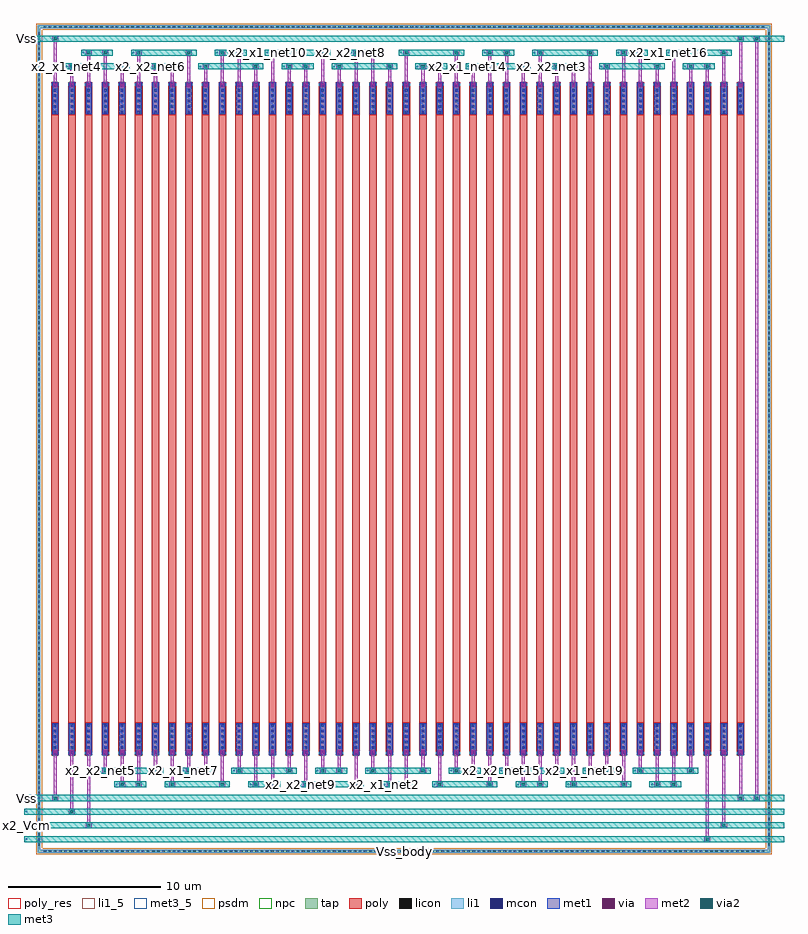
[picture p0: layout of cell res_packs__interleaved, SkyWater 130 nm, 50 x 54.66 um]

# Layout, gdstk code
import gdstk
lib = gdstk.Library(unit=1e-6, precision=1e-09)
def R(c, l, rs):  # rectangles x0, y0, x1, y1
    for r in rs: c.add(gdstk.rectangle(r[:2], r[2:], *l))
def A(c, l, x, y, w, h, nx, ny, dx, dy):  # array of equal rectangles
    R(c, l, [(x+i*dx, y+j*dy, x+i*dx+w, y+j*dy+h) for i in range(nx) for j in range(ny)])
tap = (65, 44)
poly_res = (66, 13)
poly = (66, 20)
licon = (66, 44)
li1_5 = (67, 5)
li1 = (67, 20)
mcon = (67, 44)
met1 = (68, 20)
via = (68, 44)
met2 = (69, 20)
via2 = (69, 44)
met3_5 = (70, 5)
met3 = (70, 20)
psdm = (94, 20)
npc = (95, 20)

sky130_fd_pr__res_generi = lib.new_cell('sky130_fd_pr__res_generic_po_5GPU7X')
R(sky130_fd_pr__res_generi, poly_res, [(-0.25,-20,0.25,20)])
R(sky130_fd_pr__res_generi, poly, [(-0.25,-22.15,0.25,22.15)])
R(sky130_fd_pr__res_generi, licon, [(-0.085,-22.07,0.085,-21.9), (-0.085,21.9,0.085,22.07)])
R(sky130_fd_pr__res_generi, li1, [(-0.25,-22.07,0.25,-21.9), (-0.17,-21.9,0.17,-20.085), (-0.17,20.085,0.17,21.9), (-0.25,21.9,0.25,22.07)])
A(sky130_fd_pr__res_generi, mcon, -0.085, -22.065, 0.17, 0.17, 1, 6, 0, 0.36)
A(sky130_fd_pr__res_generi, mcon, -0.085, 20.09, 0.17, 0.17, 1, 6, 0, 0.36)
R(sky130_fd_pr__res_generi, met1, [(-0.2,-22.13,0.2,-20.025), (-0.2,20.025,0.2,22.13)])
R(sky130_fd_pr__res_generi, npc, [(-0.185,-22.17,0.185,-21.8), (-0.185,21.8,0.185,22.17)])
sky130_fd_pr__res_generi.add(gdstk.Label('R1', (0,21.985), layer=67, texttype=5))
sky130_fd_pr__res_generi.add(gdstk.Label('R2', (0,-21.985), layer=67, texttype=5))

res_generic_po_w0p5_l40 = lib.new_cell('res_generic_po_W0p5_L40')
res_generic_po_w0p5_l40.add(gdstk.Reference(sky130_fd_pr__res_generi, (0.25,22.15)))

res_packs__interleaved = lib.new_cell('res_packs__interleaved')
R(res_packs__interleaved, tap, [(-0.885,-6.385,47.285,-6.215), (-0.885,-6.215,-0.715,47.855), (47.115,-6.215,47.285,47.855), (-0.885,47.855,47.285,48.025)])
A(res_packs__interleaved, licon, -0.515, -6.385, 0.17, 0.17, 140, 2, 0.34, 54.24)
A(res_packs__interleaved, licon, -0.885, -5.955, 0.17, 0.17, 1, 158, 0, 0.34)
A(res_packs__interleaved, licon, 47.115, -5.955, 0.17, 0.17, 1, 158, 0, 0.34)
R(res_packs__interleaved, li1_5, [(23.15,-6.35,23.25,-6.25)])
R(res_packs__interleaved, li1, [(-0.885,-6.385,47.285,-6.215), (-0.885,-6.215,-0.715,47.855), (47.115,-6.215,47.285,47.855), (-0.885,47.855,47.285,48.025)])
A(res_packs__interleaved, met1, 0.07, 0.04, 0.36, 0.36, 42, 2, 1.1, 43.9)
A(res_packs__interleaved, via, 0.175, 0.145, 0.15, 0.15, 42, 2, 1.1, 43.9)
A(res_packs__interleaved, met2, 0.12, 0.06, 0.26, 0.32, 42, 2, 1.1, 43.9)
R(res_packs__interleaved, met2, [(42.95,-5.7,43.35,-5.3), (43.05,-5.3,43.25,0.06), (2.25,-4.8,2.65,-4.4), (44.05,-4.8,44.45,-4.4), (2.35,-4.4,2.55,0.06), (44.15,-4.4,44.35,0.06), (1.15,-3.9,1.55,-3.5), (1.25,-3.5,1.45,0.06), (0.05,-3,0.45,-2.6), (45.15,-3,45.55,-2.6), (46.2,-3,46.6,-2.6), (0.15,-2.6,0.35,0.06), (45.25,-2.6,45.45,0.06), (46.3,-2.6,46.5,46.94), (4.45,-2.1,4.85,-1.7), (5.55,-2.1,5.95,-1.7), (7.75,-2.1,8.15,-1.7), (11.05,-2.1,11.45,-1.7), (13.25,-2.1,13.65,-1.7), (14.35,-2.1,14.75,-1.7), (16.55,-2.1,16.95,-1.7), (19.85,-2.1,20.25,-1.7), (22.05,-2.1,22.45,-1.7), (23.15,-2.1,23.55,-1.7), (25.35,-2.1,25.75,-1.7), (28.65,-2.1,29.05,-1.7), (30.85,-2.1,31.25,-1.7), (31.95,-2.1,32.35,-1.7), (34.15,-2.1,34.55,-1.7), (37.45,-2.1,37.85,-1.7), (39.65,-2.1,40.05,-1.7), (40.75,-2.1,41.15,-1.7), (4.55,-1.7,4.75,0.06), (5.65,-1.7,5.85,0.06), (7.85,-1.7,8.05,0.06), (11.15,-1.7,11.35,0.06), (13.35,-1.7,13.55,0.06), (14.45,-1.7,14.65,0.06), (16.65,-1.7,16.85,0.06), (19.95,-1.7,20.15,0.06), (22.15,-1.7,22.35,0.06), (23.25,-1.7,23.45,0.06), (25.45,-1.7,25.65,0.06), (28.75,-1.7,28.95,0.06), (30.95,-1.7,31.15,0.06), (32.05,-1.7,32.25,0.06), (34.25,-1.7,34.45,0.06), (37.55,-1.7,37.75,0.06), (39.75,-1.7,39.95,0.06), (40.85,-1.7,41.05,0.06), (3.35,-1.2,3.75,-0.8), (6.65,-1.2,7.05,-0.8), (8.85,-1.2,9.25,-0.8), (9.95,-1.2,10.35,-0.8), (12.15,-1.2,12.55,-0.8), (15.45,-1.2,15.85,-0.8), (17.65,-1.2,18.05,-0.8), (18.75,-1.2,19.15,-0.8), (20.95,-1.2,21.35,-0.8), (24.25,-1.2,24.65,-0.8), (26.45,-1.2,26.85,-0.8), (27.55,-1.2,27.95,-0.8), (29.75,-1.2,30.15,-0.8), (33.05,-1.2,33.45,-0.8), (35.25,-1.2,35.65,-0.8), (36.35,-1.2,36.75,-0.8), (38.55,-1.2,38.95,-0.8), (41.85,-1.2,42.25,-0.8), (3.45,-0.8,3.65,0.06), (6.75,-0.8,6.95,0.06), (8.95,-0.8,9.15,0.06), (10.05,-0.8,10.25,0.06), (12.25,-0.8,12.45,0.06), (15.55,-0.8,15.75,0.06), (17.75,-0.8,17.95,0.06), (18.85,-0.8,19.05,0.06), (21.05,-0.8,21.25,0.06), (24.35,-0.8,24.55,0.06), (26.55,-0.8,26.75,0.06), (27.65,-0.8,27.85,0.06), (29.85,-0.8,30.05,0.06), (33.15,-0.8,33.35,0.06), (35.35,-0.8,35.55,0.06), (36.45,-0.8,36.65,0.06), (38.65,-0.8,38.85,0.06), (41.95,-0.8,42.15,0.06), (0.15,44.28,0.35,46.94), (1.25,44.28,1.45,45.14), (2.35,44.28,2.55,46.04), (3.45,44.28,3.65,46.04), (4.55,44.28,4.75,45.14), (5.65,44.28,5.85,46.04), (6.75,44.28,6.95,45.14), (7.85,44.28,8.05,45.14), (8.95,44.28,9.15,46.04), (10.05,44.28,10.25,45.14), (11.15,44.28,11.35,46.04), (12.25,44.28,12.45,46.04), (13.35,44.28,13.55,45.14), (14.45,44.28,14.65,46.04), (15.55,44.28,15.75,45.14), (16.65,44.28,16.85,45.14), (17.75,44.28,17.95,46.04), (18.85,44.28,19.05,45.14), (19.95,44.28,20.15,46.04), (21.05,44.28,21.25,46.04), (22.15,44.28,22.35,45.14), (23.25,44.28,23.45,46.04), (24.35,44.28,24.55,45.14), (25.45,44.28,25.65,45.14), (26.55,44.28,26.75,46.04), (27.65,44.28,27.85,45.14), (28.75,44.28,28.95,46.04), (29.85,44.28,30.05,46.04), (30.95,44.28,31.15,45.14), (32.05,44.28,32.25,46.04), (33.15,44.28,33.35,45.14), (34.25,44.28,34.45,45.14), (35.35,44.28,35.55,46.04), (36.45,44.28,36.65,45.14), (37.55,44.28,37.75,46.04), (38.65,44.28,38.85,46.04), (39.75,44.28,39.95,45.14), (40.85,44.28,41.05,46.04), (41.95,44.28,42.15,45.14), (43.05,44.28,43.25,45.14), (44.15,44.28,44.35,46.04), (45.25,44.28,45.45,46.94), (1.15,45.14,1.55,45.54), (4.45,45.14,4.85,45.54), (6.65,45.14,7.05,45.54), (7.75,45.14,8.15,45.54), (9.95,45.14,10.35,45.54), (13.25,45.14,13.65,45.54), (15.45,45.14,15.85,45.54), (16.55,45.14,16.95,45.54), (18.75,45.14,19.15,45.54), (22.05,45.14,22.45,45.54), (24.25,45.14,24.65,45.54), (25.35,45.14,25.75,45.54), (27.55,45.14,27.95,45.54), (30.85,45.14,31.25,45.54), (33.05,45.14,33.45,45.54), (34.15,45.14,34.55,45.54), (36.35,45.14,36.75,45.54), (39.65,45.14,40.05,45.54), (41.85,45.14,42.25,45.54), (42.95,45.14,43.35,45.54), (2.25,46.04,2.65,46.44), (3.35,46.04,3.75,46.44), (5.55,46.04,5.95,46.44), (8.85,46.04,9.25,46.44), (11.05,46.04,11.45,46.44), (12.15,46.04,12.55,46.44), (14.35,46.04,14.75,46.44), (17.65,46.04,18.05,46.44), (19.85,46.04,20.25,46.44), (20.95,46.04,21.35,46.44), (23.15,46.04,23.55,46.44), (26.45,46.04,26.85,46.44), (28.65,46.04,29.05,46.44), (29.75,46.04,30.15,46.44), (31.95,46.04,32.35,46.44), (35.25,46.04,35.65,46.44), (37.45,46.04,37.85,46.44), (38.55,46.04,38.95,46.44), (40.75,46.04,41.15,46.44), (44.05,46.04,44.45,46.44), (0.05,46.94,0.45,47.34), (45.15,46.94,45.55,47.34), (46.2,46.94,46.6,47.34)])
R(res_packs__interleaved, via2, [(43.05,-5.6,43.25,-5.4), (2.35,-4.7,2.55,-4.5), (44.15,-4.7,44.35,-4.5), (1.25,-3.8,1.45,-3.6), (0.15,-2.9,0.35,-2.7), (45.25,-2.9,45.45,-2.7), (46.3,-2.9,46.5,-2.7), (4.55,-2,4.75,-1.8), (5.65,-2,5.85,-1.8), (7.85,-2,8.05,-1.8), (11.15,-2,11.35,-1.8), (13.35,-2,13.55,-1.8), (14.45,-2,14.65,-1.8), (16.65,-2,16.85,-1.8), (19.95,-2,20.15,-1.8), (22.15,-2,22.35,-1.8), (23.25,-2,23.45,-1.8), (25.45,-2,25.65,-1.8), (28.75,-2,28.95,-1.8), (30.95,-2,31.15,-1.8), (32.05,-2,32.25,-1.8), (34.25,-2,34.45,-1.8), (37.55,-2,37.75,-1.8), (39.75,-2,39.95,-1.8), (40.85,-2,41.05,-1.8), (3.45,-1.1,3.65,-0.9), (6.75,-1.1,6.95,-0.9), (8.95,-1.1,9.15,-0.9), (10.05,-1.1,10.25,-0.9), (12.25,-1.1,12.45,-0.9), (15.55,-1.1,15.75,-0.9), (17.75,-1.1,17.95,-0.9), (18.85,-1.1,19.05,-0.9), (21.05,-1.1,21.25,-0.9), (24.35,-1.1,24.55,-0.9), (26.55,-1.1,26.75,-0.9), (27.65,-1.1,27.85,-0.9), (29.85,-1.1,30.05,-0.9), (33.15,-1.1,33.35,-0.9), (35.35,-1.1,35.55,-0.9), (36.45,-1.1,36.65,-0.9), (38.65,-1.1,38.85,-0.9), (41.95,-1.1,42.15,-0.9), (1.25,45.24,1.45,45.44), (4.55,45.24,4.75,45.44), (6.75,45.24,6.95,45.44), (7.85,45.24,8.05,45.44), (10.05,45.24,10.25,45.44), (13.35,45.24,13.55,45.44), (15.55,45.24,15.75,45.44), (16.65,45.24,16.85,45.44), (18.85,45.24,19.05,45.44), (22.15,45.24,22.35,45.44), (24.35,45.24,24.55,45.44), (25.45,45.24,25.65,45.44), (27.65,45.24,27.85,45.44), (30.95,45.24,31.15,45.44), (33.15,45.24,33.35,45.44), (34.25,45.24,34.45,45.44), (36.45,45.24,36.65,45.44), (39.75,45.24,39.95,45.44), (41.95,45.24,42.15,45.44), (43.05,45.24,43.25,45.44), (2.35,46.14,2.55,46.34), (3.45,46.14,3.65,46.34), (5.65,46.14,5.85,46.34), (8.95,46.14,9.15,46.34), (11.15,46.14,11.35,46.34), (12.25,46.14,12.45,46.34), (14.45,46.14,14.65,46.34), (17.75,46.14,17.95,46.34), (19.95,46.14,20.15,46.34), (21.05,46.14,21.25,46.34), (23.25,46.14,23.45,46.34), (26.55,46.14,26.75,46.34), (28.75,46.14,28.95,46.34), (29.85,46.14,30.05,46.34), (32.05,46.14,32.25,46.34), (35.35,46.14,35.55,46.34), (37.55,46.14,37.75,46.34), (38.65,46.14,38.85,46.34), (40.85,46.14,41.05,46.34), (44.15,46.14,44.35,46.34), (0.15,47.04,0.35,47.24), (45.25,47.04,45.45,47.24), (46.3,47.04,46.5,47.24)])
A(res_packs__interleaved, met3_5, -1.7, -5.55, 0.1, 0.1, 1, 4, 0, 0.9)
R(res_packs__interleaved, met3_5, [(4.25,-1.95,4.35,-1.85), (7.55,-1.95,7.65,-1.85), (13.05,-1.95,13.15,-1.85), (16.35,-1.95,16.45,-1.85), (21.85,-1.95,21.95,-1.85), (25.15,-1.95,25.25,-1.85), (30.65,-1.95,30.75,-1.85), (33.95,-1.95,34.05,-1.85), (39.45,-1.95,39.55,-1.85), (3.15,-1.05,3.25,-0.95), (8.65,-1.05,8.75,-0.95), (11.95,-1.05,12.05,-0.95), (17.45,-1.05,17.55,-0.95), (20.75,-1.05,20.85,-0.95), (26.25,-1.05,26.35,-0.95), (29.55,-1.05,29.65,-0.95), (35.05,-1.05,35.15,-0.95), (38.35,-1.05,38.45,-0.95), (0.95,45.29,1.05,45.39), (6.45,45.29,6.55,45.39), (9.75,45.29,9.85,45.39), (15.25,45.29,15.35,45.39), (18.55,45.29,18.65,45.39), (24.05,45.29,24.15,45.39), (27.35,45.29,27.45,45.39), (32.85,45.29,32.95,45.39), (36.15,45.29,36.25,45.39), (41.65,45.29,41.75,45.39), (2.05,46.19,2.15,46.29), (5.35,46.19,5.45,46.29), (10.85,46.19,10.95,46.29), (14.15,46.19,14.25,46.29), (19.65,46.19,19.75,46.29), (22.95,46.19,23.05,46.29), (28.45,46.19,28.55,46.29), (31.75,46.19,31.85,46.29), (37.25,46.19,37.35,46.29), (40.55,46.19,40.65,46.29), (-1.7,47.09,-1.6,47.19)])
A(res_packs__interleaved, met3, -1.8, -5.7, 50, 0.4, 1, 4, 0, 0.9)
A(res_packs__interleaved, met3, 4.15, -2.1, 2.1, 0.4, 5, 1, 8.8, 0)
A(res_packs__interleaved, met3, 7.45, -2.1, 4.3, 0.4, 4, 1, 8.8, 0)
A(res_packs__interleaved, met3, 3.05, -1.2, 4.3, 0.4, 5, 1, 8.8, 0)
A(res_packs__interleaved, met3, 8.55, -1.2, 2.1, 0.4, 4, 1, 8.8, 0)
A(res_packs__interleaved, met3, 0.85, 45.14, 4.3, 0.4, 5, 1, 8.8, 0)
A(res_packs__interleaved, met3, 6.35, 45.14, 2.1, 0.4, 5, 1, 8.8, 0)
A(res_packs__interleaved, met3, 1.95, 46.04, 2.1, 0.4, 5, 1, 8.8, 0)
A(res_packs__interleaved, met3, 5.25, 46.04, 4.3, 0.4, 5, 1, 8.8, 0)
R(res_packs__interleaved, met3, [(-1.8,46.94,48.2,47.34)])
R(res_packs__interleaved, psdm, [(-1.01,-6.51,47.41,-6.09), (-1.01,-6.09,-0.59,47.73), (46.99,-6.09,47.41,47.73), (-1.01,47.73,47.41,48.15)])
res_packs__interleaved.add(gdstk.Reference(res_generic_po_w0p5_l40, (45.1,0)))
res_packs__interleaved.add(gdstk.Reference(res_generic_po_w0p5_l40, (44,0)))
res_packs__interleaved.add(gdstk.Reference(res_generic_po_w0p5_l40, (42.9,0)))
res_packs__interleaved.add(gdstk.Reference(res_generic_po_w0p5_l40, (41.8,0)))
res_packs__interleaved.add(gdstk.Reference(res_generic_po_w0p5_l40, (40.7,0)))
res_packs__interleaved.add(gdstk.Reference(res_generic_po_w0p5_l40, (39.6,0)))
res_packs__interleaved.add(gdstk.Reference(res_generic_po_w0p5_l40, (38.5,0)))
res_packs__interleaved.add(gdstk.Reference(res_generic_po_w0p5_l40, (37.4,0)))
res_packs__interleaved.add(gdstk.Reference(res_generic_po_w0p5_l40, (36.3,0)))
res_packs__interleaved.add(gdstk.Reference(res_generic_po_w0p5_l40, (35.2,0)))
res_packs__interleaved.add(gdstk.Reference(res_generic_po_w0p5_l40, (34.1,0)))
res_packs__interleaved.add(gdstk.Reference(res_generic_po_w0p5_l40, (33,0)))
res_packs__interleaved.add(gdstk.Reference(res_generic_po_w0p5_l40, (31.9,0)))
res_packs__interleaved.add(gdstk.Reference(res_generic_po_w0p5_l40, (30.8,0)))
res_packs__interleaved.add(gdstk.Reference(res_generic_po_w0p5_l40, (29.7,0)))
res_packs__interleaved.add(gdstk.Reference(res_generic_po_w0p5_l40, (28.6,0)))
res_packs__interleaved.add(gdstk.Reference(res_generic_po_w0p5_l40, (27.5,0)))
res_packs__interleaved.add(gdstk.Reference(res_generic_po_w0p5_l40, (26.4,0)))
res_packs__interleaved.add(gdstk.Reference(res_generic_po_w0p5_l40, (25.3,0)))
res_packs__interleaved.add(gdstk.Reference(res_generic_po_w0p5_l40, (24.2,0)))
res_packs__interleaved.add(gdstk.Reference(res_generic_po_w0p5_l40, (23.1,0)))
res_packs__interleaved.add(gdstk.Reference(res_generic_po_w0p5_l40, (22,0)))
res_packs__interleaved.add(gdstk.Reference(res_generic_po_w0p5_l40, (20.9,0)))
res_packs__interleaved.add(gdstk.Reference(res_generic_po_w0p5_l40, (19.8,0)))
res_packs__interleaved.add(gdstk.Reference(res_generic_po_w0p5_l40, (18.7,0)))
res_packs__interleaved.add(gdstk.Reference(res_generic_po_w0p5_l40, (17.6,0)))
res_packs__interleaved.add(gdstk.Reference(res_generic_po_w0p5_l40, (16.5,0)))
res_packs__interleaved.add(gdstk.Reference(res_generic_po_w0p5_l40, (15.4,0)))
res_packs__interleaved.add(gdstk.Reference(res_generic_po_w0p5_l40, (14.3,0)))
res_packs__interleaved.add(gdstk.Reference(res_generic_po_w0p5_l40, (13.2,0)))
res_packs__interleaved.add(gdstk.Reference(res_generic_po_w0p5_l40, (12.1,0)))
res_packs__interleaved.add(gdstk.Reference(res_generic_po_w0p5_l40, (11,0)))
res_packs__interleaved.add(gdstk.Reference(res_generic_po_w0p5_l40, (9.9,0)))
res_packs__interleaved.add(gdstk.Reference(res_generic_po_w0p5_l40, (8.8,0)))
res_packs__interleaved.add(gdstk.Reference(res_generic_po_w0p5_l40, (7.7,0)))
res_packs__interleaved.add(gdstk.Reference(res_generic_po_w0p5_l40, (6.6,0)))
res_packs__interleaved.add(gdstk.Reference(res_generic_po_w0p5_l40, (5.5,0)))
res_packs__interleaved.add(gdstk.Reference(res_generic_po_w0p5_l40, (4.4,0)))
res_packs__interleaved.add(gdstk.Reference(res_generic_po_w0p5_l40, (3.3,0)))
res_packs__interleaved.add(gdstk.Reference(res_generic_po_w0p5_l40, (2.2,0)))
res_packs__interleaved.add(gdstk.Reference(res_generic_po_w0p5_l40, (1.1,0)))
res_packs__interleaved.add(gdstk.Reference(res_generic_po_w0p5_l40, (0,0)))
res_packs__interleaved.add(gdstk.Label('Vss', (-1.65,47.14), layer=70, texttype=5))
res_packs__interleaved.add(gdstk.Label('x2_x1_net4', (1,45.34), layer=70, texttype=5))
res_packs__interleaved.add(gdstk.Label('x2_x2_net4', (2.1,46.24), layer=70, texttype=5))
res_packs__interleaved.add(gdstk.Label('x2_x1_net6', (5.4,46.24), layer=70, texttype=5))
res_packs__interleaved.add(gdstk.Label('x2_x2_net6', (6.5,45.34), layer=70, texttype=5))
res_packs__interleaved.add(gdstk.Label('x2_x1_net1', (9.8,45.34), layer=70, texttype=5))
res_packs__interleaved.add(gdstk.Label('x2_x2_net1', (10.9,46.24), layer=70, texttype=5))
res_packs__interleaved.add(gdstk.Label('x2_x1_net10', (14.2,46.24), layer=70, texttype=5))
res_packs__interleaved.add(gdstk.Label('x2_x2_net10', (15.3,45.34), layer=70, texttype=5))
res_packs__interleaved.add(gdstk.Label('x2_x1_net8', (18.6,45.34), layer=70, texttype=5))
res_packs__interleaved.add(gdstk.Label('x2_x2_net8', (19.7,46.24), layer=70, texttype=5))
res_packs__interleaved.add(gdstk.Label('x2_x1_net12', (23,46.24), layer=70, texttype=5))
res_packs__interleaved.add(gdstk.Label('x2_x2_net12', (24.1,45.34), layer=70, texttype=5))
res_packs__interleaved.add(gdstk.Label('x2_x1_net14', (27.4,45.34), layer=70, texttype=5))
res_packs__interleaved.add(gdstk.Label('x2_x2_net14', (28.5,46.24), layer=70, texttype=5))
res_packs__interleaved.add(gdstk.Label('x2_x1_net3', (31.8,46.24), layer=70, texttype=5))
res_packs__interleaved.add(gdstk.Label('x2_x2_net3', (32.9,45.34), layer=70, texttype=5))
res_packs__interleaved.add(gdstk.Label('x2_x1_net18', (36.2,45.34), layer=70, texttype=5))
res_packs__interleaved.add(gdstk.Label('x2_x2_net18', (37.3,46.24), layer=70, texttype=5))
res_packs__interleaved.add(gdstk.Label('x2_x1_net16', (40.6,46.24), layer=70, texttype=5))
res_packs__interleaved.add(gdstk.Label('x2_x2_net16', (41.7,45.34), layer=70, texttype=5))
res_packs__interleaved.add(gdstk.Label('Vss', (-1.65,-2.8), layer=70, texttype=5))
res_packs__interleaved.add(gdstk.Label('Vop', (-1.65,-3.7), layer=70, texttype=5))
res_packs__interleaved.add(gdstk.Label('x2_Vcm', (-1.65,-4.6), layer=70, texttype=5))
res_packs__interleaved.add(gdstk.Label('x2_x2_net5', (3.2,-1), layer=70, texttype=5))
res_packs__interleaved.add(gdstk.Label('x2_x1_net5', (4.3,-1.9), layer=70, texttype=5))
res_packs__interleaved.add(gdstk.Label('x2_x2_net7', (7.6,-1.9), layer=70, texttype=5))
res_packs__interleaved.add(gdstk.Label('x2_x1_net7', (8.7,-1), layer=70, texttype=5))
res_packs__interleaved.add(gdstk.Label('x2_x2_net11', (12,-1), layer=70, texttype=5))
res_packs__interleaved.add(gdstk.Label('x2_x1_net11', (13.1,-1.9), layer=70, texttype=5))
res_packs__interleaved.add(gdstk.Label('x2_x2_net9', (16.4,-1.9), layer=70, texttype=5))
res_packs__interleaved.add(gdstk.Label('x2_x1_net9', (17.5,-1), layer=70, texttype=5))
res_packs__interleaved.add(gdstk.Label('x2_x2_net2', (20.8,-1), layer=70, texttype=5))
res_packs__interleaved.add(gdstk.Label('x2_x1_net2', (21.9,-1.9), layer=70, texttype=5))
res_packs__interleaved.add(gdstk.Label('x2_x2_net13', (25.2,-1.9), layer=70, texttype=5))
res_packs__interleaved.add(gdstk.Label('x2_x1_net13', (26.3,-1), layer=70, texttype=5))
res_packs__interleaved.add(gdstk.Label('x2_x2_net15', (29.6,-1), layer=70, texttype=5))
res_packs__interleaved.add(gdstk.Label('x2_x1_net15', (30.7,-1.9), layer=70, texttype=5))
res_packs__interleaved.add(gdstk.Label('x2_x2_net19', (34,-1.9), layer=70, texttype=5))
res_packs__interleaved.add(gdstk.Label('x2_x1_net19', (35.1,-1), layer=70, texttype=5))
res_packs__interleaved.add(gdstk.Label('x2_x2_net17', (38.4,-1), layer=70, texttype=5))
res_packs__interleaved.add(gdstk.Label('x2_x1_net17', (39.5,-1.9), layer=70, texttype=5))
res_packs__interleaved.add(gdstk.Label('Vom', (-1.65,-5.5), layer=70, texttype=5))
res_packs__interleaved.add(gdstk.Label('Vss_body', (23.2,-6.3), layer=67, texttype=5))

lib.write_gds('res_packs__interleaved.gds')
